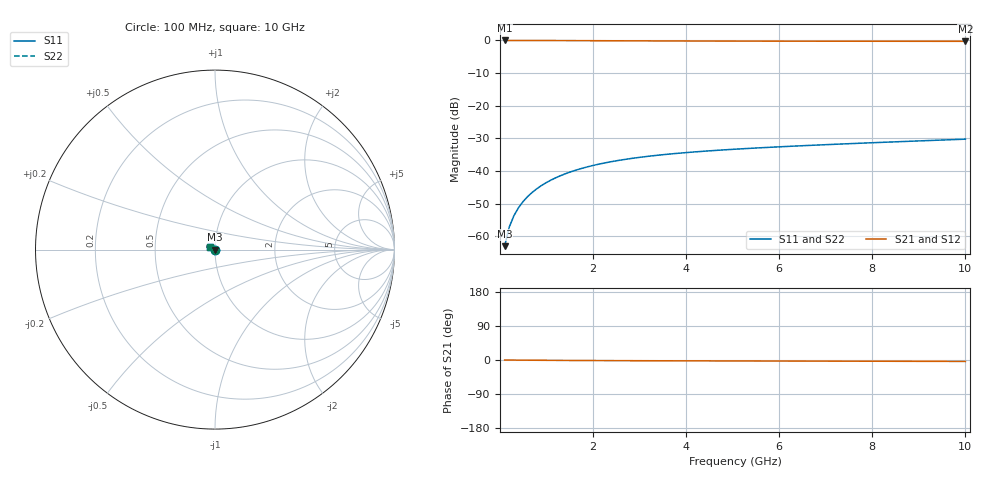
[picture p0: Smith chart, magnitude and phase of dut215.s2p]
! Touchstone file exported from HFSS 2024.1.0
!  File:  C:/UserFiles/LocalFiles/RDL_TSV_Batchsim/temp_TSV1_215_1779387061.aedt
!  Generated:  02:16:30 AM May 22, 2026
!  Design:  TSV1
!  Project:  temp_TSV1_215_1779387061
!  Setup:  Setup1
!  Solution:  Sweep
! Variables:
!  dtsv = 8.89um
!  hbump = 3um
!  htsv = 53.17um
!  lrdl = 252.1521522um
!  p = 40
!  p1 = 56.9um
!  t = 500um
!  trdl = 3um
!  wrdl = 24.89489489um
# GHz S MA R 50.000000
! Terminal data exported
! Port[1] = TSV22_T1
! Port[2] = TSV22_T2
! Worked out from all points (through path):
!   100 points, 100 MHz to 10 GHz, reference 50 ohm
!   highest |S21| = 0.00 dB at 100 MHz (marker M1); lowest = -0.3 dB at 10 GHz (marker M2)
!   lowest |S11| = -63.0 dB at 100 MHz (marker M3), VSWR 1.00, Z = 50 - j0.0695 ohm
!   |S11| at or under -10 dB: start of sweep to end of sweep
!   |S22| runs from -63.0 to -30.3 dB; largest |S21 - S12| = 2.1e-15
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0.1  0.0007045 -80.4  0.9998 -0.1  0.9998 -0.1  0.0007045 -80.4
! Gamma 0 0 0 0
! Port Impedance 50 0 50 0
0.2  0.001385 -88.6  0.9997 -0.2  0.9997 -0.2  0.001385 -88.6
0.3  0.002067 -92.9  0.9996 -0.3  0.9996 -0.3  0.002067 -92.9
0.4  0.002747 -96.1  0.9994 -0.3  0.9994 -0.3  0.002747 -96.1
0.5  0.003421 -99.0  0.9991 -0.4  0.9991 -0.4  0.003421 -99.0
0.6  0.004088 -101.6  0.9988 -0.5  0.9988 -0.5  0.004088 -101.6
0.7  0.004747 -104.1  0.9985 -0.6  0.9985 -0.6  0.004747 -104.1
0.8  0.005397 -106.5  0.9981 -0.7  0.9981 -0.7  0.005397 -106.5
0.9  0.006035 -108.9  0.9976 -0.8  0.9976 -0.8  0.006035 -108.9
1.1  0.007277 -113.4  0.9967 -0.9  0.9967 -0.9  0.007277 -113.4
1.4  0.009036 -119.7  0.995 -1.1  0.995 -1.1  0.009036 -119.7
1.6  0.01013 -123.7  0.9939 -1.2  0.9939 -1.2  0.01013 -123.7
1.8  0.01117 -127.6  0.9927 -1.3  0.9927 -1.3  0.01117 -127.6
2.1  0.01261 -133.1  0.9909 -1.5  0.9909 -1.5  0.01261 -133.1
2.5  0.01432 -139.9  0.9885 -1.7  0.9885 -1.7  0.01432 -139.9
2.9  0.01583 -146.2  0.9863 -1.8  0.9863 -1.8  0.01583 -146.2
3.4  0.01746 -153.3  0.9838 -2.0  0.9838 -2.0  0.01746 -153.3
4.2  0.01963 -163.2  0.9804 -2.3  0.9804 -2.3  0.01963 -163.2
5.1  0.02167 -172.7  0.9775 -2.5  0.9775 -2.5  0.02167 -172.7
6.7  0.02475 173.6  0.974 -2.9  0.974 -2.9  0.02475 173.6
8.4  0.0278 162.2  0.9716 -3.4  0.9716 -3.4  0.0278 162.2
10  0.03072 153.5  0.97 -3.8  0.97 -3.8  0.03072 153.5
